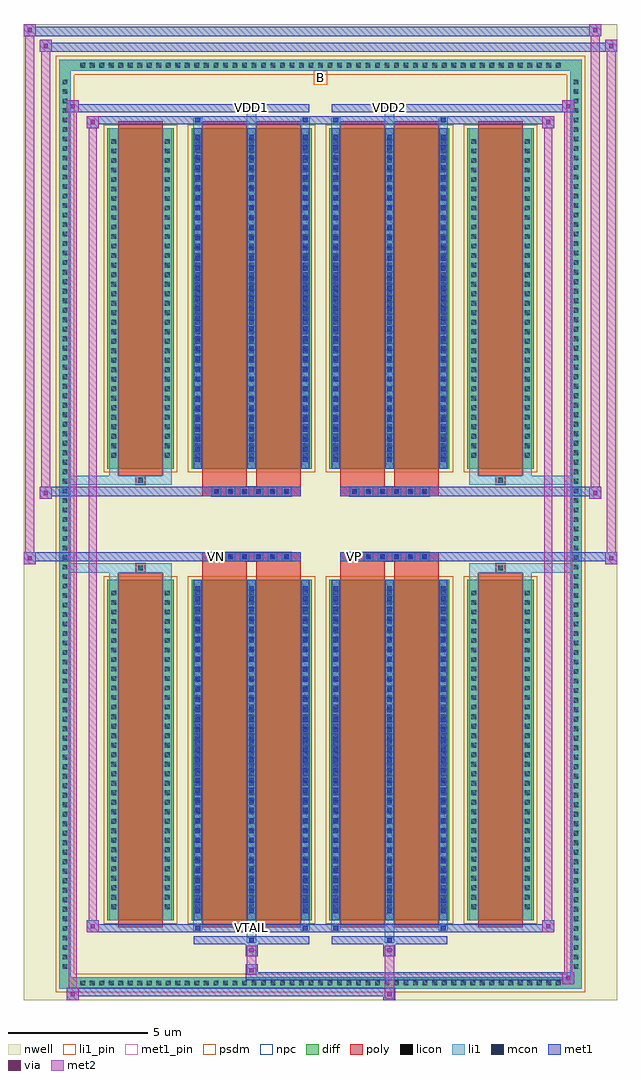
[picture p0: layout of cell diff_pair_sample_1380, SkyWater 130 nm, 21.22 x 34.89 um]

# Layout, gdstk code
import gdstk
lib = gdstk.Library(unit=1e-6, precision=5e-09)
def R(c, l, rs):  # rectangles x0, y0, x1, y1
    for r in rs: c.add(gdstk.rectangle(r[:2], r[2:], *l))
def A(c, l, x, y, w, h, nx, ny, dx, dy):  # array of equal rectangles
    R(c, l, [(x+i*dx, y+j*dy, x+i*dx+w, y+j*dy+h) for i in range(nx) for j in range(ny)])
def P(c, l, *ps):  # polygons
    for p in ps: c.add(gdstk.Polygon(p, *l))
nwell = (64, 20)
diff = (65, 20)
poly = (66, 20)
licon = (66, 44)
li1_pin = (67, 16)
li1 = (67, 20)
mcon = (67, 44)
met1_pin = (68, 16)
met1 = (68, 20)
via = (68, 44)
met2 = (69, 20)
psdm = (94, 20)
npc = (95, 20)

diff_pair_sample_1380 = lib.new_cell('diff_pair_sample_1380')
R(diff_pair_sample_1380, nwell, [(-10.61,-17.01,10.61,17.88), (-7.93,-15.2,-0.01,-0.8), (0.01,-15.2,7.93,-0.8), (-7.93,0.8,-0.01,15.2), (0.01,0.8,7.93,15.2)])
A(diff_pair_sample_1380, diff, -8.705, -16.61, 0.41, 0.41, 51, 2, 0.34, 32.81)
A(diff_pair_sample_1380, diff, -9.34, -16.015, 0.41, 0.41, 1, 94, 0, 0.34)
A(diff_pair_sample_1380, diff, 8.93, -16.015, 0.41, 0.41, 1, 94, 0, 0.34)
R(diff_pair_sample_1380, diff, [(-8.705,-16.61,8.705,-16.2), (-9.34,-16.015,-8.93,16.015), (8.93,-16.015,9.34,16.015), (-7.62,-14.155,-5.25,-1.985), (-4.61,-14.155,-0.32,-1.985), (0.32,-14.155,4.61,-1.985), (5.25,-14.155,7.62,-1.985), (-7.62,1.985,-5.25,14.155), (-4.61,1.985,-0.32,14.155), (0.32,1.985,4.61,14.155), (5.25,1.985,7.62,14.155), (-8.705,16.2,8.705,16.61)])
P(diff_pair_sample_1380, diff, [(9.34,16.61),(-9.34,16.61),(-9.34,-16.2),(-8.93,-16.2),(-8.93,16.2),(8.93,16.2),(8.93,-16.2),(-8.93,-16.2),(-9.34,-16.2),(-9.34,-16.61),(9.34,-16.61)])
A(diff_pair_sample_1380, poly, -3.88, -1.33, 0.33, 0.33, 6, 2, 0.5, 2.33)
A(diff_pair_sample_1380, poly, 1.05, -1.33, 0.33, 0.33, 6, 2, 0.5, 2.33)
R(diff_pair_sample_1380, poly, [(-7.23,-14.405,-5.64,-1.735), (-4.22,-14.405,-2.63,-1.735), (-2.3,-14.405,-0.71,-1.735), (0.71,-14.405,2.3,-1.735), (2.63,-14.405,4.22,-1.735), (5.64,-14.405,7.23,-1.735), (-6.6,-1.735,-6.27,-1.405), (-6.6,-1.735,-6.27,-1.405), (-4.22,-1.735,-2.63,-1.33), (-2.3,-1.735,-0.71,-1.33), (0.71,-1.735,2.3,-1.33), (2.63,-1.735,4.22,-1.33), (6.27,-1.735,6.6,-1.405), (6.27,-1.735,6.6,-1.405), (-4.22,-1.33,-0.71,-1), (0.71,-1.33,4.22,-1), (-4.22,1,-0.71,1.33), (0.71,1,4.22,1.33), (-4.22,1.33,-2.63,1.735), (-2.3,1.33,-0.71,1.735), (0.71,1.33,2.3,1.735), (2.63,1.33,4.22,1.735), (-6.6,1.405,-6.27,1.735), (-6.6,1.405,-6.27,1.735), (6.27,1.405,6.6,1.735), (6.27,1.405,6.6,1.735), (-7.23,1.735,-5.64,14.405), (-4.22,1.735,-2.63,14.405), (-2.3,1.735,-0.71,14.405), (0.71,1.735,2.3,14.405), (2.63,1.735,4.22,14.405), (5.64,1.735,7.23,14.405)])
A(diff_pair_sample_1380, licon, -8.585, -16.49, 0.17, 0.17, 51, 2, 0.34, 32.81)
A(diff_pair_sample_1380, licon, -9.22, -15.895, 0.17, 0.17, 1, 94, 0, 0.34)
A(diff_pair_sample_1380, licon, 9.05, -15.895, 0.17, 0.17, 1, 94, 0, 0.34)
A(diff_pair_sample_1380, licon, -7.48, -13.765, 0.17, 0.17, 1, 34, 0, 0.34)
A(diff_pair_sample_1380, licon, -5.56, -13.765, 0.17, 0.17, 1, 34, 0, 0.34)
A(diff_pair_sample_1380, licon, -4.47, -13.765, 0.17, 0.17, 3, 34, 1.92, 0.34)
A(diff_pair_sample_1380, licon, 0.46, -13.765, 0.17, 0.17, 3, 34, 1.92, 0.34)
A(diff_pair_sample_1380, licon, 5.39, -13.765, 0.17, 0.17, 1, 34, 0, 0.34)
A(diff_pair_sample_1380, licon, 7.31, -13.765, 0.17, 0.17, 1, 34, 0, 0.34)
A(diff_pair_sample_1380, licon, -3.8, -1.25, 0.17, 0.17, 6, 2, 0.5, 2.33)
A(diff_pair_sample_1380, licon, 1.13, -1.25, 0.17, 0.17, 6, 2, 0.5, 2.33)
A(diff_pair_sample_1380, licon, -7.48, 2.375, 0.17, 0.17, 1, 34, 0, 0.34)
A(diff_pair_sample_1380, licon, -5.56, 2.375, 0.17, 0.17, 1, 34, 0, 0.34)
A(diff_pair_sample_1380, licon, -4.47, 2.375, 0.17, 0.17, 3, 34, 1.92, 0.34)
A(diff_pair_sample_1380, licon, 0.46, 2.375, 0.17, 0.17, 3, 34, 1.92, 0.34)
A(diff_pair_sample_1380, licon, 5.39, 2.375, 0.17, 0.17, 1, 34, 0, 0.34)
A(diff_pair_sample_1380, licon, 7.31, 2.375, 0.17, 0.17, 1, 34, 0, 0.34)
R(diff_pair_sample_1380, licon, [(-6.52,-1.655,-6.35,-1.485), (6.35,-1.655,6.52,-1.485), (-6.52,1.485,-6.35,1.655), (6.35,1.485,6.52,1.655)])
R(diff_pair_sample_1380, li1_pin, [(-0.25,15.7,0.25,16.2)])
A(diff_pair_sample_1380, li1, -8.665, -16.57, 0.33, 0.33, 51, 2, 0.34, 32.81)
A(diff_pair_sample_1380, li1, -9.3, -15.975, 0.33, 0.33, 1, 94, 0, 0.34)
A(diff_pair_sample_1380, li1, 8.97, -15.975, 0.33, 0.33, 1, 94, 0, 0.34)
A(diff_pair_sample_1380, li1, -4.55, -14.155, 0.33, 12.17, 3, 2, 1.92, 16.14)
A(diff_pair_sample_1380, li1, 0.38, -14.155, 0.33, 12.17, 3, 2, 1.92, 16.14)
A(diff_pair_sample_1380, li1, -4.47, -13.915, 0.17, 0.17, 3, 33, 1.92, 0.36)
A(diff_pair_sample_1380, li1, -4.47, -13.915, 0.17, 11.69, 3, 2, 1.92, 16.14)
A(diff_pair_sample_1380, li1, 0.46, -13.915, 0.17, 0.17, 3, 33, 1.92, 0.36)
A(diff_pair_sample_1380, li1, 0.46, -13.915, 0.17, 11.69, 3, 2, 1.92, 16.14)
A(diff_pair_sample_1380, li1, -7.56, -13.845, 0.33, 0.33, 1, 34, 0, 0.34)
A(diff_pair_sample_1380, li1, -5.64, -13.845, 0.33, 0.33, 1, 34, 0, 0.34)
A(diff_pair_sample_1380, li1, -4.55, -13.845, 0.33, 0.33, 3, 34, 1.92, 0.34)
A(diff_pair_sample_1380, li1, 0.38, -13.845, 0.33, 0.33, 3, 34, 1.92, 0.34)
A(diff_pair_sample_1380, li1, 5.31, -13.845, 0.33, 0.33, 1, 34, 0, 0.34)
A(diff_pair_sample_1380, li1, 7.23, -13.845, 0.33, 0.33, 1, 34, 0, 0.34)
A(diff_pair_sample_1380, li1, -3.88, -1.33, 0.33, 0.33, 6, 2, 0.5, 2.33)
A(diff_pair_sample_1380, li1, 1.05, -1.33, 0.33, 0.33, 6, 2, 0.5, 2.33)
A(diff_pair_sample_1380, li1, -4.47, 2.225, 0.17, 0.17, 3, 33, 1.92, 0.36)
A(diff_pair_sample_1380, li1, 0.46, 2.225, 0.17, 0.17, 3, 33, 1.92, 0.36)
A(diff_pair_sample_1380, li1, -7.56, 2.295, 0.33, 0.33, 1, 34, 0, 0.34)
A(diff_pair_sample_1380, li1, -5.64, 2.295, 0.33, 0.33, 1, 34, 0, 0.34)
A(diff_pair_sample_1380, li1, -4.55, 2.295, 0.33, 0.33, 3, 34, 1.92, 0.34)
A(diff_pair_sample_1380, li1, 0.38, 2.295, 0.33, 0.33, 3, 34, 1.92, 0.34)
A(diff_pair_sample_1380, li1, 5.31, 2.295, 0.33, 0.33, 1, 34, 0, 0.34)
A(diff_pair_sample_1380, li1, 7.23, 2.295, 0.33, 0.33, 1, 34, 0, 0.34)
R(diff_pair_sample_1380, li1, [(-9.34,-16.61,-8.93,-16.2), (-9.34,-16.61,-8.93,-16.2), (-8.93,-16.61,8.93,-16.2), (8.93,-16.61,9.34,-16.2), (8.93,-16.61,9.34,-16.2), (-9.34,-16.2,-8.93,16.2), (8.93,-16.2,9.34,16.2), (-2.63,-14.96,-2.3,-14.155), (-2.55,-14.96,-2.38,-14.79), (2.3,-14.96,2.63,-14.155), (2.38,-14.96,2.55,-14.79), (-4.55,-14.53,-4.22,-14.155), (-4.47,-14.53,-4.3,-14.36), (-0.71,-14.53,-0.38,-14.155), (-0.63,-14.53,-0.46,-14.36), (0.38,-14.53,0.71,-14.155), (0.46,-14.53,0.63,-14.36), (4.22,-14.53,4.55,-14.155), (4.3,-14.53,4.47,-14.36), (-7.56,-14.155,-7.23,-1.985), (-5.64,-14.155,-5.31,-1.985), (5.31,-14.155,5.64,-1.985), (7.23,-14.155,7.56,-1.985), (-7.56,-1.985,-7.23,-1.405), (-5.64,-1.985,-5.31,-1.405), (5.31,-1.985,5.64,-1.405), (7.23,-1.985,7.56,-1.405), (-9.34,-1.735,-6.6,-1.405), (-7.56,-1.735,-6.6,-1.405), (-6.6,-1.735,-6.27,-1.405), (-6.27,-1.735,-5.31,-1.405), (5.31,-1.735,6.27,-1.405), (6.27,-1.735,6.6,-1.405), (6.27,-1.735,9.34,-1.405), (6.6,-1.735,7.56,-1.405), (-9.34,1.405,-6.6,1.735), (-7.56,1.405,-6.6,1.735), (-7.56,1.405,-7.23,1.985), (-6.6,1.405,-6.27,1.735), (-6.27,1.405,-5.31,1.735), (-5.64,1.405,-5.31,1.985), (5.31,1.405,6.27,1.735), (5.31,1.405,5.64,1.985), (6.27,1.405,6.6,1.735), (6.27,1.405,9.34,1.735), (6.6,1.405,7.56,1.735), (7.23,1.405,7.56,1.985), (-7.56,1.985,-7.23,14.155), (-5.64,1.985,-5.31,14.155), (5.31,1.985,5.64,14.155), (7.23,1.985,7.56,14.155), (-4.55,14.155,-4.22,14.53), (-2.63,14.155,-2.3,14.96), (-0.71,14.155,-0.38,14.53), (0.38,14.155,0.71,14.53), (2.3,14.155,2.63,14.96), (4.22,14.155,4.55,14.53), (-4.47,14.36,-4.3,14.53), (-0.63,14.36,-0.46,14.53), (0.46,14.36,0.63,14.53), (4.3,14.36,4.47,14.53), (-2.55,14.79,-2.38,14.96), (2.38,14.79,2.55,14.96), (-9.34,16.2,-8.93,16.61), (-9.34,16.2,-8.93,16.61), (-8.93,16.2,8.93,16.61), (8.93,16.2,9.34,16.61), (8.93,16.2,9.34,16.61)])
A(diff_pair_sample_1380, mcon, -4.47, -13.915, 0.17, 0.17, 3, 33, 1.92, 0.36)
A(diff_pair_sample_1380, mcon, 0.46, -13.915, 0.17, 0.17, 3, 33, 1.92, 0.36)
A(diff_pair_sample_1380, mcon, -3.8, -1.25, 0.17, 0.17, 6, 2, 0.5, 2.33)
A(diff_pair_sample_1380, mcon, 1.13, -1.25, 0.17, 0.17, 6, 2, 0.5, 2.33)
A(diff_pair_sample_1380, mcon, -4.47, 2.225, 0.17, 0.17, 3, 33, 1.92, 0.36)
A(diff_pair_sample_1380, mcon, 0.46, 2.225, 0.17, 0.17, 3, 33, 1.92, 0.36)
R(diff_pair_sample_1380, mcon, [(-2.55,-14.96,-2.38,-14.79), (2.38,-14.96,2.55,-14.79), (-4.47,-14.53,-4.3,-14.36), (-0.63,-14.53,-0.46,-14.36), (0.46,-14.53,0.63,-14.36), (4.3,-14.53,4.47,-14.36), (-4.47,14.36,-4.3,14.53), (-0.63,14.36,-0.46,14.53), (0.46,14.36,0.63,14.53), (4.3,14.36,4.47,14.53), (-2.55,14.79,-2.38,14.96), (2.38,14.79,2.55,14.96)])
R(diff_pair_sample_1380, met1_pin, [(-2.6,-14.57,-2.33,-14.3), (-3.85,-1.29,-3.58,-1.02), (1.08,-1.29,1.35,-1.02), (-2.6,14.75,-2.33,15.02), (2.33,14.75,2.6,15.02)])
A(diff_pair_sample_1380, met1, -4.53, -14.155, 0.29, 12.17, 3, 2, 1.92, 16.14)
A(diff_pair_sample_1380, met1, 0.4, -14.155, 0.29, 12.17, 3, 2, 1.92, 16.14)
A(diff_pair_sample_1380, met1, -4.53, -13.975, 0.29, 0.29, 3, 33, 1.92, 0.36)
A(diff_pair_sample_1380, met1, 0.4, -13.975, 0.29, 0.29, 3, 33, 1.92, 0.36)
A(diff_pair_sample_1380, met1, -3.86, -1.31, 0.29, 0.29, 6, 2, 0.5, 2.33)
A(diff_pair_sample_1380, met1, 1.07, -1.31, 0.29, 0.29, 6, 2, 0.5, 2.33)
A(diff_pair_sample_1380, met1, -4.53, 2.165, 0.29, 0.29, 3, 33, 1.92, 0.36)
A(diff_pair_sample_1380, met1, 0.4, 2.165, 0.29, 0.29, 3, 33, 1.92, 0.36)
R(diff_pair_sample_1380, met1, [(-9.07,-17.01,-8.64,-16.58), (2.25,-17.01,2.68,-16.58), (-9.07,-16.87,2.68,-16.58), (8.64,-16.44,9.07,-16.01), (-2.68,-16.3,9.07,-16.01), (-2.68,-16.16,-2.25,-15.73), (-2.68,-15.45,-2.25,-15.02), (2.25,-15.45,2.68,-15.02), (-4.53,-15.02,-0.4,-14.73), (-2.61,-15.02,-2.32,-14.73), (0.4,-15.02,4.53,-14.73), (2.32,-15.02,2.61,-14.73), (-8.36,-14.59,-7.93,-14.16), (-8.36,-14.59,-4.53,-14.3), (-4.53,-14.59,-4.24,-14.3), (-4.53,-14.59,-0.4,-14.3), (-0.69,-14.59,-0.4,-14.3), (-0.4,-14.59,0.4,-14.3), (0.4,-14.59,0.69,-14.3), (0.4,-14.59,4.53,-14.3), (4.24,-14.59,4.53,-14.3), (4.53,-14.59,8.36,-14.3), (7.93,-14.59,8.36,-14.16), (-10.61,-1.43,-10.18,-1), (10.18,-1.43,10.61,-1), (-10.61,-1.33,-0.71,-1), (-4.22,-1.33,-0.71,-1), (0.71,-1.33,4.22,-1), (0.71,-1.33,10.61,-1), (-10.04,0.9,-9.61,1.33), (9.61,0.9,10.04,1.33), (-10.04,1,-4.22,1.33), (-4.22,1,-0.71,1.33), (0.71,1,4.22,1.33), (4.22,1,10.04,1.33), (-8.36,14.16,-7.93,14.59), (7.93,14.16,8.36,14.59), (-8.36,14.3,-4.53,14.59), (-4.53,14.3,-4.24,14.59), (-4.53,14.3,-0.4,14.59), (-0.69,14.3,-0.4,14.59), (-0.4,14.3,0.4,14.59), (0.4,14.3,0.69,14.59), (0.4,14.3,4.53,14.59), (4.24,14.3,4.53,14.59), (4.53,14.3,8.36,14.59), (-9.07,14.73,-8.64,15.16), (-9.07,14.73,-4.53,15.02), (-4.53,14.73,-0.4,15.02), (-2.61,14.73,-2.32,15.02), (0.4,14.73,4.53,15.02), (2.32,14.73,2.61,15.02), (4.53,14.73,9.07,15.02), (8.64,14.73,9.07,15.16), (-10.04,16.88,-9.61,17.31), (-10.04,16.88,-7.93,17.21), (-7.93,16.88,7.93,17.21), (7.93,16.88,10.61,17.21), (10.18,16.88,10.61,17.31), (-10.61,17.45,-10.18,17.88), (-10.61,17.45,-7.93,17.78), (-7.93,17.45,7.93,17.78), (7.93,17.45,10.04,17.78), (9.61,17.45,10.04,17.88)])
R(diff_pair_sample_1380, via, [(-8.93,-16.87,-8.78,-16.72), (2.39,-16.87,2.54,-16.72), (8.78,-16.3,8.93,-16.15), (-2.54,-16.02,-2.39,-15.87), (-2.54,-15.31,-2.39,-15.16), (2.39,-15.31,2.54,-15.16), (-8.22,-14.45,-8.07,-14.3), (8.07,-14.45,8.22,-14.3), (-10.47,-1.29,-10.32,-1.14), (10.32,-1.29,10.47,-1.14), (-9.9,1.04,-9.75,1.19), (9.75,1.04,9.9,1.19), (-8.22,14.3,-8.07,14.45), (8.07,14.3,8.22,14.45), (-8.93,14.87,-8.78,15.02), (8.78,14.87,8.93,15.02), (-9.9,17.02,-9.75,17.17), (10.32,17.02,10.47,17.17), (-10.47,17.59,-10.32,17.74), (9.75,17.59,9.9,17.74)])
R(diff_pair_sample_1380, met2, [(-9.07,-17.01,-8.64,-16.58), (-9,-17.01,-8.71,15.16), (-8.71,-17.01,-8.64,-16.58), (-9.02,-16.96,-8.69,-16.63), (2.3,-16.96,2.63,-16.63), (2.3,-16.63,2.63,-15.4), (8.64,-16.44,9.07,-16.01), (8.71,-16.44,9,15.16), (9,-16.44,9.07,-16.01), (8.69,-16.39,9.02,-16.06), (-2.63,-16.11,-2.3,-15.78), (-2.63,-15.78,-2.3,-15.4), (-2.63,-15.4,-2.3,-15.07), (2.3,-15.4,2.63,-15.07), (-8.36,-14.59,-7.93,-14.16), (-8.29,-14.59,-8,14.59), (-8,-14.59,-7.93,-14.16), (7.93,-14.59,8.36,-14.16), (8,-14.59,8.29,14.59), (8.29,-14.59,8.36,-14.16), (-8.31,-14.54,-7.98,-14.21), (7.98,-14.54,8.31,-14.21), (-10.61,-1.43,-10.18,-1), (-10.56,-1.43,-10.23,17.88), (-10.23,-1.43,-10.18,-1), (10.18,-1.43,10.61,-1), (10.23,-1.43,10.56,17.31), (10.56,-1.43,10.61,-1), (-10.56,-1.38,-10.23,-1.05), (10.23,-1.38,10.56,-1.05), (-10.04,0.9,-9.61,1.33), (-9.99,0.9,-9.66,17.31), (-9.66,0.9,-9.61,1.33), (9.61,0.9,10.04,1.33), (9.66,0.9,9.99,17.88), (9.99,0.9,10.04,1.33), (-9.99,0.95,-9.66,1.28), (9.66,0.95,9.99,1.28), (-8.36,14.16,-7.93,14.59), (-8,14.16,-7.93,14.59), (7.93,14.16,8.36,14.59), (8.29,14.16,8.36,14.59), (-8.31,14.21,-7.98,14.54), (7.98,14.21,8.31,14.54), (-9.07,14.73,-8.64,15.16), (-8.71,14.73,-8.64,15.16), (8.64,14.73,9.07,15.16), (9,14.73,9.07,15.16), (-9.02,14.78,-8.69,15.11), (8.69,14.78,9.02,15.11), (-10.04,16.88,-9.61,17.31), (-9.66,16.88,-9.61,17.31), (10.18,16.88,10.61,17.31), (10.56,16.88,10.61,17.31), (-9.99,16.93,-9.66,17.26), (10.23,16.93,10.56,17.26), (-10.61,17.45,-10.18,17.88), (-10.23,17.45,-10.18,17.88), (9.61,17.45,10.04,17.88), (9.99,17.45,10.04,17.88), (-10.56,17.5,-10.23,17.83), (9.66,17.5,9.99,17.83)])
R(diff_pair_sample_1380, psdm, [(-7.75,-14.285,-5.12,-1.855), (-4.74,-14.285,-0.19,-1.855), (0.19,-14.285,4.74,-1.855), (5.12,-14.285,7.75,-1.855), (-7.75,1.855,-5.12,14.285), (-4.74,1.855,-0.19,14.285), (0.19,1.855,4.74,14.285), (5.12,1.855,7.75,14.285)])
P(diff_pair_sample_1380, psdm, [(9.47,16.74),(-9.47,16.74),(-9.47,-16.07),(-8.8,-16.07),(-8.8,16.07),(8.8,16.07),(8.8,-16.07),(-8.8,-16.07),(-9.47,-16.07),(-9.47,-16.74),(9.47,-16.74)])
A(diff_pair_sample_1380, npc, -3.9, -1.35, 0.37, 0.37, 6, 2, 0.5, 2.33)
A(diff_pair_sample_1380, npc, 1.03, -1.35, 0.37, 0.37, 6, 2, 0.5, 2.33)
R(diff_pair_sample_1380, npc, [(-6.62,-1.755,-6.25,-1.385), (6.25,-1.755,6.62,-1.385), (-3.9,-1.35,-3.03,-0.98), (-3.9,-1.35,-3.03,-0.98), (-3.4,-1.35,-2.53,-0.98), (-3.4,-1.35,-2.53,-0.98), (-2.9,-1.35,-2.03,-0.98), (-2.9,-1.35,-2.03,-0.98), (-2.4,-1.35,-1.53,-0.98), (-2.4,-1.35,-1.53,-0.98), (-1.9,-1.35,-1.03,-0.98), (-1.9,-1.35,-1.03,-0.98), (1.03,-1.35,1.9,-0.98), (1.03,-1.35,1.9,-0.98), (1.53,-1.35,2.4,-0.98), (1.53,-1.35,2.4,-0.98), (2.03,-1.35,2.9,-0.98), (2.03,-1.35,2.9,-0.98), (2.53,-1.35,3.4,-0.98), (2.53,-1.35,3.4,-0.98), (3.03,-1.35,3.9,-0.98), (3.03,-1.35,3.9,-0.98), (-3.9,0.98,-3.03,1.35), (-3.9,0.98,-3.03,1.35), (-3.4,0.98,-2.53,1.35), (-3.4,0.98,-2.53,1.35), (-2.9,0.98,-2.03,1.35), (-2.9,0.98,-2.03,1.35), (-2.4,0.98,-1.53,1.35), (-2.4,0.98,-1.53,1.35), (-1.9,0.98,-1.03,1.35), (-1.9,0.98,-1.03,1.35), (1.03,0.98,1.9,1.35), (1.03,0.98,1.9,1.35), (1.53,0.98,2.4,1.35), (1.53,0.98,2.4,1.35), (2.03,0.98,2.9,1.35), (2.03,0.98,2.9,1.35), (2.53,0.98,3.4,1.35), (2.53,0.98,3.4,1.35), (3.03,0.98,3.9,1.35), (3.03,0.98,3.9,1.35), (-6.62,1.385,-6.25,1.755), (6.25,1.385,6.62,1.755)])
diff_pair_sample_1380.add(gdstk.Label('VTAIL', (-2.465,-14.435), layer=68, texttype=5))
diff_pair_sample_1380.add(gdstk.Label('VN', (-3.715,-1.155), layer=68, texttype=5))
diff_pair_sample_1380.add(gdstk.Label('VP', (1.215,-1.155), layer=68, texttype=5))
diff_pair_sample_1380.add(gdstk.Label('B', (0,15.95), layer=67, texttype=5))
diff_pair_sample_1380.add(gdstk.Label('VDD2', (2.465,14.885), layer=68, texttype=5))
diff_pair_sample_1380.add(gdstk.Label('VDD1', (-2.465,14.885), layer=68, texttype=5))

lib.write_gds('diff_pair_sample_1380.gds')
